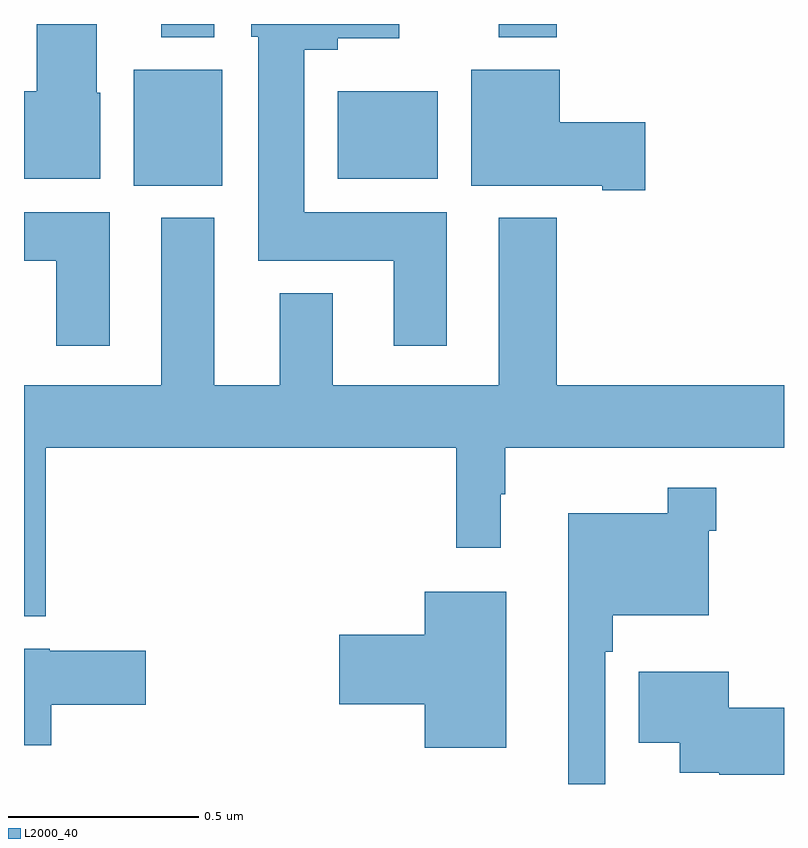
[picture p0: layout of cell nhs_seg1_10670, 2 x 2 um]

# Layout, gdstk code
import gdstk
lib = gdstk.Library(unit=1e-6, precision=1e-09)
def R(c, l, rs):  # rectangles x0, y0, x1, y1
    for r in rs: c.add(gdstk.rectangle(r[:2], r[2:], *l))
def P(c, l, *ps):  # polygons
    for p in ps: c.add(gdstk.Polygon(p, *l))
L2000_40 = (2000, 40)

nhs_seg1_10670 = lib.new_cell('nhs_seg1_10670')
R(nhs_seg1_10670, L2000_40, [(244.289,533.774,244.522,534.079), (244.826,533.792,245.089,534.022), (244.361,534.164,244.501,534.199), (245.249,534.164,245.402,534.199)])
P(nhs_seg1_10670, L2000_40, [(245.113,533.704),(244.738,533.704),(244.738,534.131),(244.825,534.131),(244.825,534.161),(244.987,534.161),(244.987,534.199),(244.598,534.199),(244.598,534.165),(244.616,534.165),(244.616,533.576),(244.973,533.576),(244.973,533.352),(245.113,533.352)],
  [(244.201,534.018),(244.192,534.018),(244.192,534.199),(244.034,534.199),(244.034,534.022),(244,534.022),(244,533.792),(244.201,533.792)],
  [(245.635,533.94),(245.41,533.94),(245.41,534.079),(245.177,534.079),(245.177,533.774),(245.522,533.774),(245.522,533.762),(245.635,533.762)],
  [(244.225,533.704),(244,533.704),(244,533.576),(244.085,533.576),(244.085,533.352),(244.225,533.352)],
  [(244.057,533.084),(245.137,533.084),(245.137,532.821),(245.254,532.821),(245.254,532.961),(245.266,532.961),(245.266,533.084),(246,533.084),(246,533.248),(245.402,533.248),(245.402,533.689),(245.249,533.689),(245.249,533.248),(244.813,533.248),(244.813,533.491),(244.673,533.491),(244.673,533.248),(244.501,533.248),(244.501,533.689),(244.361,533.689),(244.361,533.248),(244,533.248),(244,532.64),(244.057,532.64)],
  [(245.529,532.547),(245.549,532.547),(245.549,532.643),(245.802,532.643),(245.802,532.865),(245.822,532.865),(245.822,532.978),(245.694,532.978),(245.694,532.912),(245.432,532.912),(245.432,532.199),(245.529,532.199)],
  [(245.269,532.705),(245.054,532.705),(245.054,532.592),(244.83,532.592),(244.83,532.409),(245.054,532.409),(245.054,532.295),(245.269,532.295)],
  [(244.072,532.408),(244.321,532.408),(244.321,532.55),(244.068,532.55),(244.068,532.555),(244,532.555),(244,532.301),(244.072,532.301)],
  [(246,532.4),(245.854,532.4),(245.854,532.495),(245.618,532.495),(245.618,532.307),(245.726,532.307),(245.726,532.229),(245.83,532.229),(245.83,532.224),(246,532.224)])

lib.write_gds('nhs_seg1_10670.gds')
